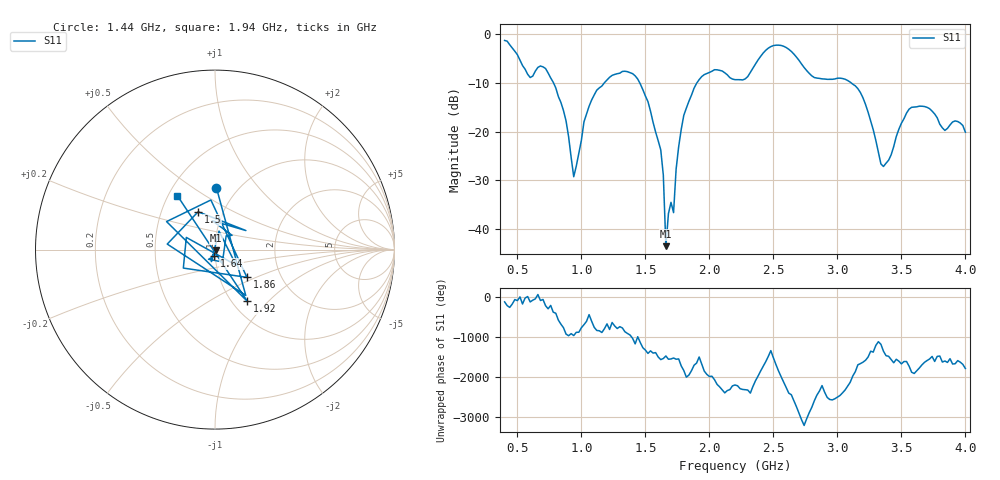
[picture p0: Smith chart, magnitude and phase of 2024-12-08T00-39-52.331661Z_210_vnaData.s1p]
!Created with skrf (http://scikit-rf.org).
# Hz S RI R 50.0
!freq ReS11 ImS11
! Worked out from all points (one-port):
!   181 points, 400 MHz to 4 GHz, reference 50 ohm
!   lowest |S11| = -43.5 dB at 1.66 GHz (marker M1), VSWR 1.01, Z = 50.6 - j0.369 ohm
!   |S11| at or under -10 dB: 781.4 MHz to 1.18 GHz (398.7 MHz wide, 40.7 % of centre); 1.455 GHz to 1.903 GHz (448.4 MHz wide, 26.7 % of centre); 3.105 GHz to end of sweep
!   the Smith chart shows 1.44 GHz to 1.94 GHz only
!   S11 on the Smith chart (normalised r, x): 1.44 GHz: 0.80, +0.62; 1.5 GHz: 0.76, +0.34; 1.64 GHz: 0.99, -0.07; 1.86 GHz: 1.35, -0.44; 1.92 GHz: 1.17, -0.76; 1.94 GHz: 0.56, +0.39
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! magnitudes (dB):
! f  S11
! 400 MHz  -1.4
! 600 MHz  -8.9
! 720 MHz  -7.1
! 860 MHz  -15.7
! 940 MHz  -29.3
! 1.02 GHz  -18.0
! 1.08 GHz  -13.5
! 1.3 GHz  -8.1
! 1.44 GHz  -9.3
! 1.5 GHz  -12.7
! 1.62 GHz  -23.8
! 1.64 GHz  -28.9
! 1.66 GHz  -43.5
! 1.7 GHz  -34.5
! 1.72 GHz  -36.6
! 1.76 GHz  -23.1
! 1.86 GHz  -12.6
! 1.92 GHz  -9.4
! 1.94 GHz  -8.7
! 2.2 GHz  -9.4
! 2.48 GHz  -2.6
! 2.66 GHz  -4.1
! 2.82 GHz  -9.0
! 3.1 GHz  -9.9
! 3.2 GHz  -13.1
! 3.36 GHz  -27.2
! 3.56 GHz  -15.4
! 4 GHz  -20.1
